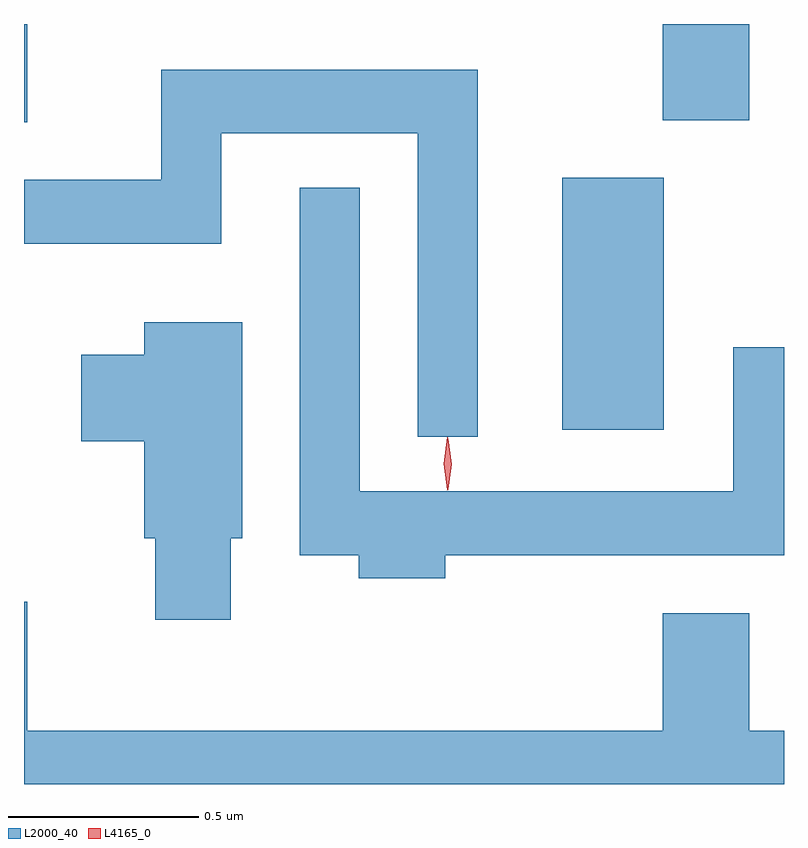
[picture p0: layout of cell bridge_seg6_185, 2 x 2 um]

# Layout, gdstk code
import gdstk
lib = gdstk.Library(unit=1e-6, precision=1e-09)
def R(c, l, rs):  # rectangles x0, y0, x1, y1
    for r in rs: c.add(gdstk.rectangle(r[:2], r[2:], *l))
def P(c, l, *ps):  # polygons
    for p in ps: c.add(gdstk.Polygon(p, *l))
L2000_40 = (2000, 40)
L4165_0 = (4165, 0)

bridge_seg6_185 = lib.new_cell('bridge_seg6_185')
R(bridge_seg6_185, L2000_40, [(1079.946,1597.716,1080.214,1598.379), (1078.53,1598.526,1078.539,1598.784), (1080.211,1598.531,1080.439,1598.784)])
P(bridge_seg6_185, L2000_40, [(1079.724,1598.664),(1078.891,1598.664),(1078.891,1598.374),(1078.53,1598.374),(1078.53,1598.206),(1079.049,1598.206),(1079.049,1598.496),(1079.566,1598.496),(1079.566,1597.698),(1079.724,1597.698)],
  [(1079.639,1597.386),(1080.53,1597.386),(1080.53,1597.933),(1080.396,1597.933),(1080.396,1597.554),(1079.414,1597.554),(1079.414,1598.353),(1079.256,1598.353),(1079.256,1597.386),(1079.411,1597.386),(1079.411,1597.326),(1079.639,1597.326)],
  [(1079.074,1597.431),(1079.104,1597.431),(1079.104,1597.999),(1078.846,1597.999),(1078.846,1597.914),(1078.681,1597.914),(1078.681,1597.686),(1078.846,1597.686),(1078.846,1597.431),(1078.876,1597.431),(1078.876,1597.216),(1079.074,1597.216)],
  [(1080.53,1596.924),(1080.439,1596.924),(1080.439,1597.234),(1080.211,1597.234),(1080.211,1596.924),(1078.539,1596.924),(1078.539,1597.264),(1078.53,1597.264),(1078.53,1596.784),(1080.53,1596.784)])
P(bridge_seg6_185, L4165_0, [(1079.646,1597.559),(1079.645,1597.56),(1079.636,1597.626),(1079.645,1597.692),(1079.646,1597.693),(1079.646,1597.692),(1079.656,1597.626),(1079.646,1597.56)],
  [(1079.644,1597.557),(1079.644,1597.558),(1079.634,1597.627),(1079.644,1597.696),(1079.644,1597.696),(1079.645,1597.696),(1079.654,1597.627),(1079.645,1597.558)])

lib.write_gds('bridge_seg6_185.gds')
